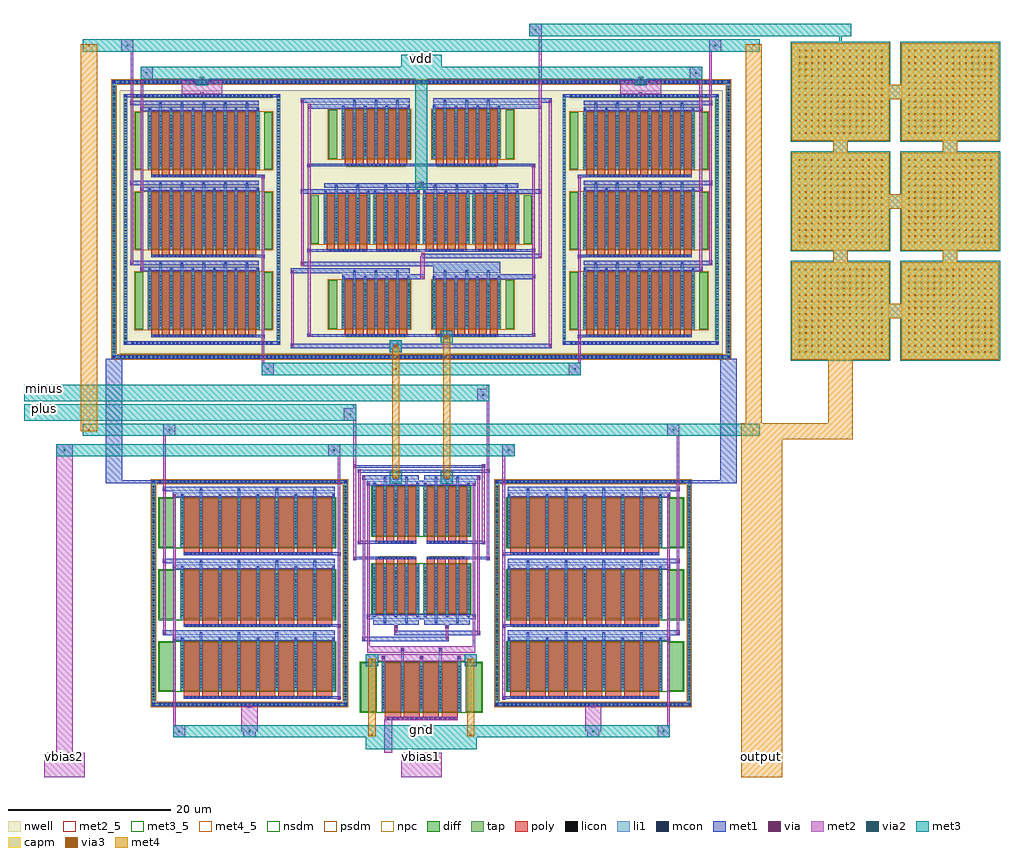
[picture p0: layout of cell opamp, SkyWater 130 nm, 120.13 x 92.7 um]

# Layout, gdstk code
import gdstk
lib = gdstk.Library(unit=1e-6, precision=1e-09)
def R(c, l, rs):  # rectangles x0, y0, x1, y1
    for r in rs: c.add(gdstk.rectangle(r[:2], r[2:], *l))
def A(c, l, x, y, w, h, nx, ny, dx, dy):  # array of equal rectangles
    R(c, l, [(x+i*dx, y+j*dy, x+i*dx+w, y+j*dy+h) for i in range(nx) for j in range(ny)])
nwell = (64, 20)
diff = (65, 20)
tap = (65, 44)
poly = (66, 20)
licon = (66, 44)
li1 = (67, 20)
mcon = (67, 44)
met1 = (68, 20)
via = (68, 44)
met2_5 = (69, 5)
met2 = (69, 20)
via2 = (69, 44)
met3_5 = (70, 5)
met3 = (70, 20)
via3 = (70, 44)
met4_5 = (71, 5)
met4 = (71, 20)
capm = (89, 44)
nsdm = (93, 44)
psdm = (94, 20)
npc = (95, 20)

opamp = lib.new_cell('opamp')
R(opamp, nwell, [(-37.11,29.47,37.11,61.905)])
A(opamp, diff, -32.06, -13.795, 0.33, 0.17, 44, 2, 0.5, 27.42)
A(opamp, diff, 10.24, -13.795, 0.33, 0.17, 44, 2, 0.5, 27.42)
A(opamp, diff, -33.17, -13.175, 0.12, 0.17, 1, 78, 0, 0.34)
A(opamp, diff, -32.88, -13.175, 0.12, 0.17, 1, 78, 0, 0.34)
A(opamp, diff, -9.53, -13.175, 0.12, 0.17, 1, 78, 0, 0.34)
A(opamp, diff, -9.24, -13.175, 0.12, 0.17, 1, 78, 0, 0.34)
A(opamp, diff, 9.12, -13.175, 0.12, 0.17, 1, 78, 0, 0.34)
A(opamp, diff, 9.41, -13.175, 0.12, 0.17, 1, 78, 0, 0.34)
A(opamp, diff, 32.78, -13.175, 0.12, 0.17, 1, 78, 0, 0.34)
A(opamp, diff, 33.07, -13.175, 0.12, 0.17, 1, 78, 0, 0.34)
A(opamp, diff, -33.17, -13.005, 0.41, 0.17, 1, 77, 0, 0.34)
A(opamp, diff, -9.53, -13.005, 0.41, 0.17, 1, 77, 0, 0.34)
A(opamp, diff, 9.12, -13.005, 0.41, 0.17, 1, 77, 0, 0.34)
A(opamp, diff, 32.78, -13.005, 0.41, 0.17, 1, 77, 0, 0.34)
A(opamp, diff, -32.235, -12.03, 2, 6, 1, 3, 0, 8.845)
A(opamp, diff, -29.66, -12.03, 19.09, 6, 1, 3, 0, 8.845)
A(opamp, diff, 10.58, -12.03, 19.09, 6, 1, 3, 0, 8.845)
A(opamp, diff, 30.245, -12.03, 2, 6, 1, 3, 0, 8.845)
A(opamp, diff, -36.915, 28.99, 0.33, 0.17, 148, 2, 0.5, 33.85)
A(opamp, diff, -38.025, 29.595, 0.12, 0.17, 1, 97, 0, 0.34)
A(opamp, diff, -37.735, 29.595, 0.12, 0.17, 1, 97, 0, 0.34)
A(opamp, diff, 37.615, 29.595, 0.12, 0.17, 1, 97, 0, 0.34)
A(opamp, diff, 37.905, 29.595, 0.12, 0.17, 1, 97, 0, 0.34)
A(opamp, diff, -38.025, 29.765, 0.41, 0.17, 1, 96, 0, 0.34)
A(opamp, diff, 37.615, 29.765, 0.41, 0.17, 1, 96, 0, 0.34)
A(opamp, diff, -35.235, 32.47, 1, 7, 1, 3, 0, 9.845)
A(opamp, diff, -33.66, 32.47, 13.75, 7, 1, 3, 0, 9.845)
A(opamp, diff, -19.335, 32.47, 1, 7, 1, 3, 0, 9.845)
A(opamp, diff, 18.335, 32.47, 1, 7, 1, 3, 0, 9.845)
A(opamp, diff, 19.91, 32.47, 13.75, 7, 1, 3, 0, 9.845)
A(opamp, diff, 34.235, 32.47, 1, 7, 1, 3, 0, 9.845)
A(opamp, diff, -12.035, 43, 5.77, 6, 4, 1, 6.1, 0)
R(opamp, diff, [(-7.46,-14.585,-5.46,-8.585), (-4.885,-14.585,4.885,-8.585), (5.46,-14.585,7.46,-8.585), (-33.17,-13.915,-9.12,-13.795), (9.12,-13.915,33.19,-13.795), (-33.17,-13.795,-32.23,-13.625), (-10.06,-13.795,-9.12,-13.625), (9.12,-13.795,10.07,-13.625), (32.24,-13.795,33.19,-13.625), (-33.17,-13.625,-9.12,-13.505), (9.12,-13.625,33.19,-13.505), (-33.17,-13.505,-32.76,-13.175), (-9.53,-13.505,-9.12,-13.175), (9.12,-13.505,9.53,-13.175), (32.78,-13.505,33.19,-13.175), (-6.025,-2.475,-0.255,3.525), (0.255,-2.475,6.025,3.525), (-6.025,7.075,-0.255,13.075), (0.255,7.075,6.025,13.075), (-33.17,13.175,-32.76,13.505), (-9.53,13.175,-9.12,13.505), (9.12,13.175,9.53,13.505), (32.78,13.175,33.19,13.505), (-33.17,13.505,-9.12,13.625), (9.12,13.505,33.19,13.625), (-33.17,13.625,-32.23,13.795), (-10.06,13.625,-9.12,13.795), (9.12,13.625,10.07,13.795), (32.24,13.625,33.19,13.795), (-33.17,13.795,-9.12,13.915), (9.12,13.795,33.19,13.915), (-38.025,28.87,38.025,28.99), (-38.025,28.99,-37.085,29.16), (37.085,28.99,38.025,29.16), (-38.025,29.16,38.025,29.28), (-38.025,29.28,-37.615,29.595), (37.615,29.28,38.025,29.595), (-11.37,32.51,-10.37,38.51), (-9.795,32.51,-1.365,38.51), (1.365,32.51,9.795,38.51), (10.37,32.51,11.37,38.51), (-13.61,43,-12.61,49), (12.61,43,13.61,49), (-11.37,53.49,-10.37,59.49), (-9.795,53.49,-1.365,59.49), (1.365,53.49,9.795,59.49), (10.37,53.49,11.37,59.49), (-38.025,62.405,-37.615,62.72), (37.615,62.405,38.025,62.72), (-38.025,62.72,38.025,62.84), (-38.025,62.84,-37.085,63.01), (37.085,62.84,38.025,63.01), (-38.025,63.01,38.025,63.13)])
A(opamp, tap, -32.23, -13.795, 0.17, 0.17, 45, 2, 0.5, 27.42)
A(opamp, tap, 10.07, -13.795, 0.17, 0.17, 45, 2, 0.5, 27.42)
A(opamp, tap, -33.05, -13.175, 0.17, 0.17, 1, 78, 0, 0.34)
A(opamp, tap, -9.41, -13.175, 0.17, 0.17, 1, 78, 0, 0.34)
A(opamp, tap, 9.24, -13.175, 0.17, 0.17, 1, 78, 0, 0.34)
A(opamp, tap, 32.9, -13.175, 0.17, 0.17, 1, 78, 0, 0.34)
A(opamp, tap, -37.085, 28.99, 0.17, 0.17, 149, 2, 0.5, 33.85)
A(opamp, tap, -37.905, 29.595, 0.17, 0.17, 1, 97, 0, 0.34)
A(opamp, tap, 37.735, 29.595, 0.17, 0.17, 1, 97, 0, 0.34)
A(opamp, tap, -35.59, 30.705, 0.17, 0.17, 35, 2, 0.5, 30.42)
A(opamp, tap, 18.42, 30.705, 0.17, 0.17, 35, 2, 0.5, 30.42)
A(opamp, tap, -36.5, 31.295, 0.17, 0.17, 1, 87, 0, 0.34)
A(opamp, tap, -17.68, 31.295, 0.17, 0.17, 1, 87, 0, 0.34)
A(opamp, tap, 17.51, 31.295, 0.17, 0.17, 1, 87, 0, 0.34)
A(opamp, tap, 36.33, 31.295, 0.17, 0.17, 1, 87, 0, 0.34)
A(opamp, poly, -4.495, -15.235, 2, 6.9, 4, 1, 2.33, 0)
A(opamp, poly, -29.27, -13.01, 18.31, 0.33, 1, 3, 0, 8.845)
A(opamp, poly, 10.97, -13.01, 18.31, 0.33, 1, 3, 0, 8.845)
A(opamp, poly, -29.27, -12.68, 2, 6.9, 8, 3, 2.33, 8.845)
A(opamp, poly, 10.97, -12.68, 2, 6.9, 8, 3, 2.33, 8.845)
A(opamp, poly, -5.635, -2.725, 1, 6.9, 4, 2, 1.33, 9.15)
A(opamp, poly, 0.645, -2.725, 1, 6.9, 4, 2, 1.33, 9.15)
A(opamp, poly, -33.27, 31.49, 12.97, 0.33, 1, 3, 0, 9.845)
A(opamp, poly, 20.3, 31.49, 12.97, 0.33, 1, 3, 0, 9.845)
A(opamp, poly, -33.27, 31.82, 1, 7.9, 10, 3, 1.33, 9.845)
A(opamp, poly, 20.3, 31.82, 1, 7.9, 10, 3, 1.33, 9.845)
A(opamp, poly, -9.405, 31.86, 1, 6.9, 6, 2, 1.33, 20.98)
A(opamp, poly, 1.755, 31.86, 1, 6.9, 6, 2, 1.33, 20.98)
A(opamp, poly, -11.645, 42.02, 4.99, 0.33, 4, 1, 6.1, 0)
A(opamp, poly, -11.645, 42.35, 1, 6.9, 4, 1, 1.33, 0)
A(opamp, poly, -5.545, 42.35, 1, 6.9, 4, 1, 1.33, 0)
A(opamp, poly, 0.555, 42.35, 1, 6.9, 4, 1, 1.33, 0)
A(opamp, poly, 6.655, 42.35, 1, 6.9, 4, 1, 1.33, 0)
R(opamp, poly, [(-4.495,-15.665,4.495,-15.235), (-5.635,4.175,-0.645,4.505), (0.645,4.175,5.635,4.505), (-5.635,6.095,-0.645,6.425), (0.645,6.095,5.635,6.425), (-9.405,31.53,-1.755,31.86), (1.755,31.53,9.405,31.86), (-9.405,52.51,-1.755,52.84), (1.755,52.51,9.405,52.84)])
A(opamp, licon, -4.145, -15.535, 0.17, 0.17, 15, 1, 0.58, 0)
A(opamp, licon, -4.745, -14.22, 0.17, 0.17, 5, 16, 2.33, 0.34)
A(opamp, licon, -32.23, -13.795, 0.17, 0.17, 45, 2, 0.5, 27.42)
A(opamp, licon, 10.07, -13.795, 0.17, 0.17, 45, 2, 0.5, 27.42)
A(opamp, licon, -33.05, -13.175, 0.17, 0.17, 1, 78, 0, 0.34)
A(opamp, licon, -9.41, -13.175, 0.17, 0.17, 1, 78, 0, 0.34)
A(opamp, licon, 9.24, -13.175, 0.17, 0.17, 1, 78, 0, 0.34)
A(opamp, licon, 32.9, -13.175, 0.17, 0.17, 1, 78, 0, 0.34)
A(opamp, licon, -28.95, -12.93, 0.17, 0.17, 36, 3, 0.5, 8.845)
A(opamp, licon, 11.29, -12.93, 0.17, 0.17, 36, 3, 0.5, 8.845)
A(opamp, licon, -29.52, -11.665, 0.17, 0.17, 9, 16, 2.33, 0.34)
A(opamp, licon, 10.72, -11.665, 0.17, 0.17, 9, 16, 2.33, 0.34)
A(opamp, licon, -29.52, -2.82, 0.17, 0.17, 9, 16, 2.33, 0.34)
A(opamp, licon, 10.72, -2.82, 0.17, 0.17, 9, 16, 2.33, 0.34)
A(opamp, licon, -5.885, -2.11, 0.17, 0.17, 5, 16, 1.33, 0.34)
A(opamp, licon, 0.395, -2.11, 0.17, 0.17, 5, 16, 1.33, 0.34)
A(opamp, licon, -5.225, 4.255, 0.17, 0.17, 9, 2, 0.5, 1.92)
A(opamp, licon, 1.055, 4.255, 0.17, 0.17, 9, 2, 0.5, 1.92)
A(opamp, licon, -29.52, 6.025, 0.17, 0.17, 9, 16, 2.33, 0.34)
A(opamp, licon, 10.72, 6.025, 0.17, 0.17, 9, 16, 2.33, 0.34)
A(opamp, licon, -5.885, 7.44, 0.17, 0.17, 5, 16, 1.33, 0.34)
A(opamp, licon, 0.395, 7.44, 0.17, 0.17, 5, 16, 1.33, 0.34)
A(opamp, licon, -37.085, 28.99, 0.17, 0.17, 149, 2, 0.5, 33.85)
A(opamp, licon, -37.905, 29.595, 0.17, 0.17, 1, 97, 0, 0.34)
A(opamp, licon, 37.735, 29.595, 0.17, 0.17, 1, 97, 0, 0.34)
A(opamp, licon, -35.59, 30.705, 0.17, 0.17, 35, 2, 0.5, 30.42)
A(opamp, licon, 18.42, 30.705, 0.17, 0.17, 35, 2, 0.5, 30.42)
A(opamp, licon, -36.5, 31.295, 0.17, 0.17, 1, 87, 0, 0.34)
A(opamp, licon, -17.68, 31.295, 0.17, 0.17, 1, 87, 0, 0.34)
A(opamp, licon, 17.51, 31.295, 0.17, 0.17, 1, 87, 0, 0.34)
A(opamp, licon, 36.33, 31.295, 0.17, 0.17, 1, 87, 0, 0.34)
A(opamp, licon, -32.87, 31.57, 0.17, 0.17, 25, 3, 0.5, 9.845)
A(opamp, licon, 20.7, 31.57, 0.17, 0.17, 25, 3, 0.5, 9.845)
A(opamp, licon, -9.165, 31.61, 0.17, 0.17, 15, 2, 0.5, 20.98)
A(opamp, licon, 1.995, 31.61, 0.17, 0.17, 15, 2, 0.5, 20.98)
A(opamp, licon, -33.52, 32.825, 0.17, 0.17, 11, 19, 1.33, 0.34)
A(opamp, licon, 20.05, 32.825, 0.17, 0.17, 11, 19, 1.33, 0.34)
A(opamp, licon, -9.655, 32.875, 0.17, 0.17, 7, 16, 1.33, 0.34)
A(opamp, licon, 1.505, 32.875, 0.17, 0.17, 7, 16, 1.33, 0.34)
A(opamp, licon, -11.235, 42.1, 0.17, 0.17, 9, 1, 0.5, 0)
A(opamp, licon, -5.135, 42.1, 0.17, 0.17, 9, 1, 0.5, 0)
A(opamp, licon, 0.965, 42.1, 0.17, 0.17, 9, 1, 0.5, 0)
A(opamp, licon, 7.065, 42.1, 0.17, 0.17, 9, 1, 0.5, 0)
A(opamp, licon, -33.52, 42.67, 0.17, 0.17, 11, 19, 1.33, 0.34)
A(opamp, licon, 20.05, 42.67, 0.17, 0.17, 11, 19, 1.33, 0.34)
A(opamp, licon, -11.895, 43.365, 0.17, 0.17, 5, 16, 1.33, 0.34)
A(opamp, licon, -5.795, 43.365, 0.17, 0.17, 5, 16, 1.33, 0.34)
A(opamp, licon, 0.305, 43.365, 0.17, 0.17, 5, 16, 1.33, 0.34)
A(opamp, licon, 6.405, 43.365, 0.17, 0.17, 5, 16, 1.33, 0.34)
A(opamp, licon, -33.52, 52.515, 0.17, 0.17, 11, 19, 1.33, 0.34)
A(opamp, licon, 20.05, 52.515, 0.17, 0.17, 11, 19, 1.33, 0.34)
A(opamp, licon, -9.655, 53.855, 0.17, 0.17, 7, 16, 1.33, 0.34)
A(opamp, licon, 1.505, 53.855, 0.17, 0.17, 7, 16, 1.33, 0.34)
A(opamp, li1, -4.225, -15.615, 0.33, 0.33, 15, 1, 0.58, 0)
A(opamp, li1, -4.825, -14.585, 0.33, 6.73, 3, 1, 4.66, 0)
A(opamp, li1, -32.31, -13.875, 0.33, 0.33, 45, 2, 0.5, 27.42)
A(opamp, li1, 9.99, -13.875, 0.33, 0.33, 45, 2, 0.5, 27.42)
A(opamp, li1, -29.03, -13.01, 0.33, 0.33, 36, 3, 0.5, 8.845)
A(opamp, li1, 11.21, -13.01, 0.33, 0.33, 36, 3, 0.5, 8.845)
A(opamp, li1, -29.6, -12.03, 0.33, 6.52, 5, 3, 4.66, 8.845)
A(opamp, li1, -27.27, -12.03, 0.33, 7.24, 4, 3, 4.66, 8.845)
A(opamp, li1, 10.64, -12.03, 0.33, 6.52, 5, 3, 4.66, 8.845)
A(opamp, li1, 12.97, -12.03, 0.33, 7.24, 4, 3, 4.66, 8.845)
A(opamp, li1, -5.965, -2.995, 0.33, 6.52, 3, 2, 2.66, 10.07)
A(opamp, li1, 0.315, -2.995, 0.33, 6.52, 3, 2, 2.66, 10.07)
A(opamp, li1, -5.305, 4.175, 0.33, 0.33, 9, 2, 0.5, 1.92)
A(opamp, li1, 0.975, 4.175, 0.33, 0.33, 9, 2, 0.5, 1.92)
A(opamp, li1, -37.165, 28.91, 0.33, 0.33, 149, 2, 0.5, 33.85)
A(opamp, li1, -35.67, 30.625, 0.33, 0.33, 35, 2, 0.5, 30.42)
A(opamp, li1, 18.34, 30.625, 0.33, 0.33, 35, 2, 0.5, 30.42)
A(opamp, li1, -32.95, 31.49, 0.33, 0.33, 25, 3, 0.5, 9.845)
A(opamp, li1, 20.62, 31.49, 0.33, 0.33, 25, 3, 0.5, 9.845)
A(opamp, li1, -9.245, 31.53, 0.33, 0.33, 15, 2, 0.5, 20.98)
A(opamp, li1, 1.915, 31.53, 0.33, 0.33, 15, 2, 0.5, 20.98)
A(opamp, li1, -33.6, 32.47, 0.33, 7.52, 6, 3, 2.66, 9.845)
A(opamp, li1, -32.27, 32.47, 0.33, 8.24, 5, 3, 2.66, 9.845)
A(opamp, li1, 19.97, 32.47, 0.33, 7.52, 6, 3, 2.66, 9.845)
A(opamp, li1, 21.3, 32.47, 0.33, 8.24, 5, 3, 2.66, 9.845)
A(opamp, li1, -9.735, 32.51, 0.33, 6.52, 4, 2, 2.66, 20.98)
A(opamp, li1, -8.405, 32.51, 0.33, 7.24, 3, 2, 2.66, 20.98)
A(opamp, li1, 1.425, 32.51, 0.33, 6.52, 4, 2, 2.66, 20.98)
A(opamp, li1, 2.755, 32.51, 0.33, 7.24, 3, 2, 2.66, 20.98)
A(opamp, li1, -11.315, 42.02, 0.33, 0.33, 9, 1, 0.5, 0)
A(opamp, li1, -5.215, 42.02, 0.33, 0.33, 9, 1, 0.5, 0)
A(opamp, li1, 0.885, 42.02, 0.33, 0.33, 9, 1, 0.5, 0)
A(opamp, li1, 6.985, 42.02, 0.33, 0.33, 9, 1, 0.5, 0)
A(opamp, li1, -11.975, 43, 0.33, 6.52, 3, 1, 2.66, 0)
A(opamp, li1, -5.875, 43, 0.33, 6.52, 3, 1, 2.66, 0)
A(opamp, li1, 0.225, 43, 0.33, 6.52, 3, 1, 2.66, 0)
A(opamp, li1, 6.325, 43, 0.33, 6.52, 3, 1, 2.66, 0)
R(opamp, li1, [(-2.495,-14.585,-2.165,-6.855), (2.165,-14.585,2.495,-6.855), (-33.17,-13.915,-32.76,13.915), (-9.53,-13.915,-9.12,13.915), (9.12,-13.915,9.53,13.915), (32.78,-13.915,33.19,13.915), (-4.635,-3.715,-4.305,3.525), (-1.975,-3.715,-1.645,3.525), (1.645,-3.715,1.975,3.525), (4.305,-3.715,4.635,3.525), (-4.635,7.075,-4.305,14.315), (-1.975,7.075,-1.645,14.315), (1.645,7.075,1.975,14.315), (4.305,7.075,4.635,14.315), (-38.025,28.87,-37.615,63.13), (37.615,28.87,38.025,63.13), (-36.62,30.585,-36.21,61.415), (-17.8,30.585,-17.39,61.415), (17.39,30.585,17.8,61.415), (36.21,30.585,36.62,61.415), (-10.645,43,-10.315,50.24), (-7.985,43,-7.655,50.24), (-4.545,43,-4.215,50.24), (-1.885,43,-1.555,50.24), (1.555,43,1.885,50.24), (4.215,43,4.545,50.24), (7.655,43,7.985,50.24), (10.315,43,10.645,50.24)])
A(opamp, mcon, -4.145, -15.535, 0.17, 0.17, 15, 1, 0.58, 0)
A(opamp, mcon, -32.23, -13.795, 0.17, 0.17, 45, 2, 0.5, 27.42)
A(opamp, mcon, 10.07, -13.795, 0.17, 0.17, 45, 2, 0.5, 27.42)
A(opamp, mcon, -28.95, -12.93, 0.17, 0.17, 36, 3, 0.5, 8.845)
A(opamp, mcon, 11.29, -12.93, 0.17, 0.17, 36, 3, 0.5, 8.845)
A(opamp, mcon, -4.745, -8.025, 0.17, 0.17, 3, 1, 4.66, 0)
A(opamp, mcon, -29.52, -5.68, 0.17, 0.17, 5, 3, 4.66, 8.845)
A(opamp, mcon, 10.72, -5.68, 0.17, 0.17, 5, 3, 4.66, 8.845)
A(opamp, mcon, -27.19, -4.96, 0.17, 0.17, 4, 3, 4.66, 8.845)
A(opamp, mcon, 13.05, -4.96, 0.17, 0.17, 4, 3, 4.66, 8.845)
A(opamp, mcon, -5.885, -2.995, 0.17, 0.17, 3, 2, 2.66, 16.42)
A(opamp, mcon, 0.395, -2.995, 0.17, 0.17, 3, 2, 2.66, 16.42)
A(opamp, mcon, -5.225, 4.255, 0.17, 0.17, 9, 2, 0.5, 1.92)
A(opamp, mcon, 1.055, 4.255, 0.17, 0.17, 9, 2, 0.5, 1.92)
A(opamp, mcon, -37.085, 28.99, 0.17, 0.17, 149, 2, 0.5, 33.85)
A(opamp, mcon, -35.59, 30.705, 0.17, 0.17, 35, 2, 0.5, 30.42)
A(opamp, mcon, 18.42, 30.705, 0.17, 0.17, 35, 2, 0.5, 30.42)
A(opamp, mcon, -32.87, 31.57, 0.17, 0.17, 25, 3, 0.5, 9.845)
A(opamp, mcon, 20.7, 31.57, 0.17, 0.17, 25, 3, 0.5, 9.845)
A(opamp, mcon, -9.165, 31.61, 0.17, 0.17, 15, 2, 0.5, 20.98)
A(opamp, mcon, 1.995, 31.61, 0.17, 0.17, 15, 2, 0.5, 20.98)
A(opamp, mcon, -9.655, 38.86, 0.17, 0.17, 4, 2, 2.66, 20.98)
A(opamp, mcon, 1.505, 38.86, 0.17, 0.17, 4, 2, 2.66, 20.98)
A(opamp, mcon, -8.325, 39.58, 0.17, 0.17, 3, 2, 2.66, 20.98)
A(opamp, mcon, 2.835, 39.58, 0.17, 0.17, 3, 2, 2.66, 20.98)
A(opamp, mcon, -33.52, 39.82, 0.17, 0.17, 6, 3, 2.66, 9.845)
A(opamp, mcon, 20.05, 39.82, 0.17, 0.17, 6, 3, 2.66, 9.845)
A(opamp, mcon, -32.19, 40.54, 0.17, 0.17, 5, 3, 2.66, 9.845)
A(opamp, mcon, 21.38, 40.54, 0.17, 0.17, 5, 3, 2.66, 9.845)
A(opamp, mcon, -11.235, 42.1, 0.17, 0.17, 9, 1, 0.5, 0)
A(opamp, mcon, -5.135, 42.1, 0.17, 0.17, 9, 1, 0.5, 0)
A(opamp, mcon, 0.965, 42.1, 0.17, 0.17, 9, 1, 0.5, 0)
A(opamp, mcon, 7.065, 42.1, 0.17, 0.17, 9, 1, 0.5, 0)
A(opamp, mcon, -11.895, 49.35, 0.17, 0.17, 3, 1, 2.66, 0)
A(opamp, mcon, -5.795, 49.35, 0.17, 0.17, 3, 1, 2.66, 0)
A(opamp, mcon, 0.305, 49.35, 0.17, 0.17, 3, 1, 2.66, 0)
A(opamp, mcon, 6.405, 49.35, 0.17, 0.17, 3, 1, 2.66, 0)
R(opamp, mcon, [(-33.05,-13.795,-32.88,-13.625), (-9.41,-13.795,-9.24,-13.625), (9.24,-13.795,9.41,-13.625), (32.9,-13.795,33.07,-13.625), (-2.415,-7.025,-2.245,-6.855), (2.245,-7.025,2.415,-6.855), (-4.555,-3.715,-4.385,-3.545), (-1.895,-3.715,-1.725,-3.545), (1.725,-3.715,1.895,-3.545), (4.385,-3.715,4.555,-3.545), (-33.05,13.625,-32.88,13.795), (-9.41,13.625,-9.24,13.795), (9.24,13.625,9.41,13.795), (32.9,13.625,33.07,13.795), (-4.555,14.145,-4.385,14.315), (-1.895,14.145,-1.725,14.315), (1.725,14.145,1.895,14.315), (4.385,14.145,4.555,14.315), (-37.905,28.99,-37.735,29.16), (37.735,28.99,37.905,29.16), (-36.5,30.705,-36.33,30.875), (-17.68,30.705,-17.51,30.875), (17.51,30.705,17.68,30.875), (36.33,30.705,36.5,30.875), (-10.565,50.07,-10.395,50.24), (-7.905,50.07,-7.735,50.24), (-4.465,50.07,-4.295,50.24), (-1.805,50.07,-1.635,50.24), (1.635,50.07,1.805,50.24), (4.295,50.07,4.465,50.24), (7.735,50.07,7.905,50.24), (10.395,50.07,10.565,50.24), (-36.5,61.125,-36.33,61.295), (-17.68,61.125,-17.51,61.295), (17.51,61.125,17.68,61.295), (36.33,61.125,36.5,61.295), (-37.905,62.84,-37.735,63.01), (37.735,62.84,37.905,63.01)])
A(opamp, met1, -4.275, -15.665, 0.43, 0.43, 15, 1, 0.58, 0)
A(opamp, met1, -10.36, -13.11, 0.43, 0.1, 1, 3, 0, 8.845)
A(opamp, met1, 9.94, -13.11, 0.43, 0.1, 1, 3, 0, 8.845)
A(opamp, met1, -29.27, -13.01, 19.34, 0.33, 1, 3, 0, 8.845)
A(opamp, met1, 9.94, -13.01, 19.34, 0.33, 1, 3, 0, 8.845)
A(opamp, met1, -4.875, -8.155, 0.43, 0.43, 3, 1, 4.66, 0)
A(opamp, met1, -30.61, -5.885, 19.96, 0.58, 1, 3, 0, 8.845)
A(opamp, met1, 10.66, -5.885, 19.96, 0.58, 1, 3, 0, 8.845)
A(opamp, met1, -31.81, -5.165, 21.16, 0.58, 1, 3, 0, 8.845)
A(opamp, met1, 10.66, -5.165, 21.16, 0.58, 1, 3, 0, 8.845)
A(opamp, met1, -19.7, 31.39, 0.43, 0.1, 1, 3, 0, 9.845)
A(opamp, met1, 19.27, 31.39, 0.43, 0.1, 1, 3, 0, 9.845)
A(opamp, met1, -33.27, 31.49, 14, 0.33, 1, 3, 0, 9.845)
A(opamp, met1, 19.27, 31.49, 14, 0.33, 1, 3, 0, 9.845)
A(opamp, met1, -14.02, 31.53, 28.04, 0.33, 1, 3, 0, 10.49)
A(opamp, met1, -34.61, 39.615, 14.62, 0.58, 1, 3, 0, 9.845)
A(opamp, met1, 19.99, 39.615, 14.62, 0.58, 1, 3, 0, 9.845)
A(opamp, met1, -35.81, 40.335, 15.82, 0.58, 1, 3, 0, 9.845)
A(opamp, met1, 19.99, 40.335, 15.82, 0.58, 1, 3, 0, 9.845)
R(opamp, met1, [(-21.36,-14.13,-20.93,-13.915), (20.94,-14.13,21.37,-13.915), (-33.17,-13.915,-9.12,-13.505), (9.12,-13.915,33.19,-13.505), (-2.545,-7.155,-2.115,-6.725), (2.115,-7.155,2.545,-6.725), (-7.27,-5.93,3.355,-5.35), (-3.355,-5.21,7.27,-4.63), (-3.355,-4.63,-2.925,-4.49), (-3.355,-4.35,-2.925,-3.92), (2.925,-4.35,3.355,-3.92), (-5.945,-3.92,-0.335,-3.34), (0.335,-3.92,5.945,-3.34), (-6.7,-3.2,6.7,-2.62), (-8.41,4.075,-7.98,4.175), (7.98,4.075,8.41,4.175), (-8.41,4.175,-0.645,4.505), (0.645,4.175,8.41,4.505), (-7.84,5.995,-7.41,6.095), (7.41,5.995,7.84,6.095), (-7.84,6.095,-0.645,6.425), (0.645,6.095,7.84,6.425), (-6.7,13.22,6.7,13.8), (-38.82,13.505,-9.12,13.915), (9.12,13.505,38.82,13.915), (-38.82,13.915,-36.82,28.87), (36.82,13.915,38.82,28.87), (-7.27,13.94,-0.335,14.52), (0.335,13.94,7.27,14.52), (-7.84,14.84,8.41,15.17), (-7.84,15.17,-7.41,15.27), (7.98,15.17,8.41,15.27), (-8.41,15.41,7.84,15.74), (-8.41,15.74,-7.98,15.84), (7.41,15.74,7.84,15.84), (-38.025,28.87,38.025,29.28), (-3.89,29.65,-2.39,30.11), (-16.08,30.11,16.08,30.69), (-36.62,30.585,-17.39,30.995), (17.39,30.585,36.62,30.995), (-3.89,30.69,-2.39,31.15), (2.925,31.335,3.355,31.53), (-14.02,31.86,-13.59,31.96), (13.59,31.86,14.02,31.96), (-9.715,38.655,0.445,39.235), (1.445,38.655,13.805,38.73), (1.445,38.73,14.02,39.16), (1.445,39.16,13.805,39.235), (-16.08,39.375,-1.445,39.955), (1.445,39.375,9.715,40.215), (-14.8,40.215,9.715,40.365), (-14.85,40.365,9.715,40.795), (0.155,41.195,14.85,41.485), (0.015,41.485,14.85,41.775), (0.015,41.775,0.445,41.915), (-14.02,41.97,-13.59,42.02), (13.59,41.97,14.02,42.02), (-14.02,42.35,-13.59,42.4), (13.59,42.35,14.02,42.4), (-14.85,49.145,-0.245,49.725), (0.245,49.145,14.85,49.725), (-11.955,49.865,11.955,50.445), (-0.215,50.445,0.215,50.585), (-14.02,52.41,-13.59,52.51), (13.59,52.41,14.02,52.51), (-13.97,59.635,-1.445,60.215), (1.445,59.635,14.85,60.215), (-14.85,60.355,-1.445,60.935), (1.445,60.355,16.08,60.935), (-36.62,61.005,-17.39,61.415), (17.39,61.005,36.62,61.415), (-27.22,61.415,-26.79,61.63), (26.79,61.415,27.22,61.63), (-38.025,62.72,38.025,63.13)])
A(opamp, via, -4.135, -15.525, 0.15, 0.15, 15, 1, 0.58, 0)
A(opamp, via, -10.22, -12.97, 0.15, 0.15, 1, 3, 0, 8.845)
A(opamp, via, 10.08, -12.97, 0.15, 0.15, 1, 3, 0, 8.845)
A(opamp, via, -4.735, -8.015, 0.15, 0.15, 3, 1, 4.66, 0)
A(opamp, via, -30.47, -5.745, 0.15, 0.15, 1, 3, 0, 8.845)
A(opamp, via, 30.33, -5.745, 0.15, 0.15, 1, 3, 0, 8.845)
A(opamp, via, -31.67, -5.025, 0.15, 0.15, 1, 3, 0, 8.845)
A(opamp, via, 31.53, -5.025, 0.15, 0.15, 1, 3, 0, 8.845)
A(opamp, via, -19.56, 31.53, 0.15, 0.15, 1, 3, 0, 9.845)
A(opamp, via, 19.41, 31.53, 0.15, 0.15, 1, 3, 0, 9.845)
A(opamp, via, -13.88, 31.67, 0.15, 0.15, 1, 3, 0, 10.44)
A(opamp, via, -34.47, 39.755, 0.15, 0.15, 1, 3, 0, 9.845)
A(opamp, via, 34.32, 39.755, 0.15, 0.15, 1, 3, 0, 9.845)
A(opamp, via, -35.67, 40.475, 0.15, 0.15, 1, 3, 0, 9.845)
A(opamp, via, 35.52, 40.475, 0.15, 0.15, 1, 3, 0, 9.845)
R(opamp, via, [(-21.22,-13.99,-21.07,-13.84), (21.08,-13.99,21.23,-13.84), (-2.405,-7.015,-2.255,-6.865), (2.255,-7.015,2.405,-6.865), (-7.13,-5.79,-6.98,-5.64), (3.065,-5.64,3.215,-5.49), (6.98,-5.07,7.13,-4.92), (-3.215,-4.78,-3.065,-4.63), (-3.215,-4.21,-3.065,-4.06), (3.065,-4.21,3.215,-4.06), (-6.56,-2.91,-6.41,-2.76), (6.41,-2.91,6.56,-2.76), (-8.27,4.215,-8.12,4.365), (8.12,4.215,8.27,4.365), (-7.7,6.135,-7.55,6.285), (7.55,6.135,7.7,6.285), (-6.56,13.36,-6.41,13.51), (6.41,13.36,6.56,13.51), (-3.215,14.15,-3.065,14.3), (3.065,14.15,3.215,14.3), (-7.13,14.23,-6.98,14.38), (6.98,14.23,7.13,14.38), (-7.7,14.98,-7.55,15.13), (8.12,14.98,8.27,15.13), (-8.27,15.55,-8.12,15.7), (7.55,15.55,7.7,15.7), (-3.215,30.325,-3.065,30.475), (-15.94,30.4,-15.79,30.55), (15.79,30.4,15.94,30.55), (3.065,31.475,3.215,31.625), (13.73,31.67,13.88,31.82), (0.08,38.87,0.23,39.02), (13.73,38.87,13.88,39.02), (-15.94,39.515,-15.79,39.665), (-14.71,40.505,-14.56,40.655), (14.56,41.335,14.71,41.485), (0.155,41.625,0.305,41.775), (13.73,42.11,13.88,42.26), (14.56,49.285,14.71,49.435), (-14.71,49.435,-14.56,49.585), (-0.075,50.295,0.075,50.445), (13.73,52.55,13.88,52.7), (-13.83,59.775,-13.68,59.925), (14.56,59.775,14.71,59.925), (-14.71,60.495,-14.56,60.645), (15.79,60.495,15.94,60.645), (-27.08,61.34,-26.93,61.49), (26.93,61.34,27.08,61.49)])
R(opamp, met2_5, [(-44.405,-20.645,-43.405,-19.645), (-0.5,-20.645,0.5,-19.645)])
R(opamp, met2, [(-46.405,-22.645,-41.405,-19.645), (-2.5,-22.645,2.5,-19.645), (-44.905,-19.645,-42.905,18.34), (-4.56,-19.645,-3.56,-15.665), (-30.56,-17.745,-29.06,-16.245), (-21.895,-17.745,-20.395,-16.995), (20.405,-17.745,21.905,-16.995), (29.07,-17.745,30.57,-16.245), (-22.145,-16.995,-20.145,-13.915), (20.155,-16.995,22.155,-13.915), (-30.56,-16.245,-30.23,12.185), (30.24,-16.245,30.57,12.185), (-4.56,-15.665,4.495,-15.615), (-4.495,-15.615,4.495,-15.235), (-21.31,-13.915,-20.98,-13.75), (20.99,-13.915,21.32,-13.75), (-10.31,-13.06,-9.98,16.84), (9.99,-13.06,10.32,16.84), (-6.825,-9.01,-5.325,-8.37), (5.325,-9.01,6.825,-8.37), (-6.825,-8.37,6.825,-7.51), (-6.65,-7.37,6.65,-6.51), (-6.65,-6.51,-6.32,13.6), (6.32,-6.51,6.65,13.6), (-7.22,-5.88,-6.89,14.47), (2.975,-5.73,3.305,-3.97), (6.89,-5.16,7.22,14.47), (-31.76,-5.115,-31.43,19.34), (31.44,-5.115,31.77,19.34), (-3.305,-4.87,-2.975,-3.97), (-8.36,4.125,-8.03,21.24), (8.03,4.125,8.36,23.64), (-7.79,6.045,-7.46,15.22), (7.46,6.045,7.79,15.79), (-3.43,13.935,-2.85,14.515), (2.85,13.935,3.43,14.515), (-11.48,16.84,-9.98,18.34), (9.99,16.84,11.49,18.34), (-31.76,19.34,-30.26,20.84), (30.27,19.34,31.77,20.84), (-9.53,21.24,-8.03,22.74), (-8.36,22.74,-8.03,23.24), (6.86,23.64,8.36,25.14), (8.03,25.14,8.36,25.64), (-19.65,26.84,-18.15,28.34), (18.15,26.84,19.65,28.34), (-19.65,28.34,-19.32,51.46), (19.32,28.34,19.65,51.46), (-3.43,30.11,-2.85,30.69), (-16.03,30.31,-15.7,39.755), (15.7,30.31,16.03,60.735), (2.85,31.26,3.43,31.84), (-13.97,31.58,-13.64,59.635), (13.64,31.58,13.97,52.79), (-0.135,38.655,0.445,41.485), (-34.56,39.665,-34.23,63.26), (34.23,39.665,34.56,63.26), (-14.8,40.215,-14.47,40.365), (-14.85,40.365,-14.42,40.795), (-35.76,40.385,-35.43,66.66), (35.43,40.385,35.76,66.66), (-14.8,40.795,-14.47,60.735), (14.47,41.245,14.8,68.56), (0.015,41.485,0.445,41.915), (-0.29,50.08,0.29,50.66), (-13.97,59.635,-13.54,60.065), (-13.97,60.065,-13.64,60.215), (-27.17,61.25,-26.84,61.415), (26.84,61.25,27.17,61.415), (-29.505,61.415,-24.505,63.26), (24.505,61.415,29.505,63.26), (-34.56,63.26,-33.06,64.76), (-27.295,63.26,-26.715,63.55), (26.715,63.26,27.295,63.55), (33.06,63.26,34.56,64.76), (-36.93,66.66,-35.43,68.16), (35.43,66.66,36.93,68.16), (13.3,68.56,14.8,70.06)])
R(opamp, via2, [(-29.91,-17.095,-29.71,-16.895), (-21.245,-17.095,-21.045,-16.895), (21.055,-17.095,21.255,-16.895), (29.72,-17.095,29.92,-16.895), (-6.175,-8.36,-5.975,-8.16), (5.975,-8.36,6.175,-8.16), (-3.24,14.125,-3.04,14.325), (3.04,14.125,3.24,14.325), (-44.005,17.49,-43.805,17.69), (-10.83,17.49,-10.63,17.69), (10.64,17.49,10.84,17.69), (-31.11,19.99,-30.91,20.19), (30.92,19.99,31.12,20.19), (-8.88,21.89,-8.68,22.09), (7.51,24.29,7.71,24.49), (-19,27.49,-18.8,27.69), (18.8,27.49,19,27.69), (-3.24,30.3,-3.04,30.5), (3.04,31.45,3.24,31.65), (-0.1,50.27,0.1,50.47), (-27.105,63.16,-26.905,63.36), (26.905,63.16,27.105,63.36), (-33.91,63.91,-33.71,64.11), (33.71,63.91,33.91,64.11), (-36.28,67.31,-36.08,67.51), (36.08,67.31,36.28,67.51), (13.95,69.21,14.15,69.41)])
R(opamp, met3_5, [(-0.5,-17.245,0.5,-16.245), (-46.905,22.24,-45.905,23.24), (-46.905,24.64,-45.905,25.64), (-0.5,65.26,0.5,66.26)])
A(opamp, met3, 45.465, 33.84, 25.76, 1.8, 1, 3, 0, 13.48)
R(opamp, met3, [(-6.825,-19.245,6.825,-17.745), (-30.56,-17.745,30.57,-16.245), (-6.825,-9.01,-5.325,-7.51), (5.325,-9.01,6.825,-7.51), (-3.89,13.475,-2.39,14.975), (2.39,13.475,3.89,14.975), (-44.905,16.84,11.49,18.34), (-41.655,19.34,41.655,20.84), (-48.905,21.24,-8.03,23.24), (-48.905,23.64,8.36,25.64), (-19.65,26.84,19.65,28.34), (45.465,28.6,57.745,33.84), (58.945,28.6,71.225,33.84), (-3.89,29.65,-2.39,31.15), (2.39,30.8,3.89,32.3), (45.465,35.64,57.745,40.88), (58.945,35.64,71.225,40.88), (50.705,40.88,52.505,42.08), (64.185,40.88,65.985,42.08), (45.465,42.08,57.745,47.32), (58.945,42.08,71.225,47.32), (45.465,49.12,57.745,54.36), (58.945,49.12,71.225,54.36), (-0.75,49.62,0.75,63.26), (50.705,54.36,52.505,55.56), (64.185,54.36,65.985,55.56), (45.465,55.56,57.745,60.8), (58.945,55.56,71.225,60.8), (-27.755,62.51,-26.255,63.26), (26.255,62.51,27.755,63.26), (45.465,62.6,57.745,67.84), (58.945,62.6,71.225,67.84), (-34.56,63.26,34.56,64.76), (-2.5,64.76,2.5,66.26), (-41.655,66.66,41.655,68.16), (51.44,67.84,51.77,68.56), (13.3,68.56,52.94,70.06)])
A(opamp, via3, 46.435, 29.57, 0.2, 0.2, 14, 14, 0.78, 0.78)
A(opamp, via3, 59.915, 29.57, 0.2, 0.2, 14, 14, 0.78, 0.78)
A(opamp, via3, 46.435, 43.05, 0.2, 0.2, 14, 14, 0.78, 0.78)
A(opamp, via3, 59.915, 43.05, 0.2, 0.2, 14, 14, 0.78, 0.78)
A(opamp, via3, 46.435, 56.53, 0.2, 0.2, 14, 14, 0.78, 0.78)
A(opamp, via3, 59.915, 56.53, 0.2, 0.2, 14, 14, 0.78, 0.78)
R(opamp, via3, [(-6.175,-17.525,-5.975,-17.325), (5.975,-17.525,6.175,-17.325), (-6.175,-8.36,-5.975,-8.16), (5.975,-8.36,6.175,-8.16), (-3.24,14.125,-3.04,14.325), (3.04,14.125,3.24,14.325), (-41.005,19.99,-40.805,20.19), (40.805,19.99,41.005,20.19), (-3.24,27.49,-3.04,27.69), (-3.24,30.3,-3.04,30.5), (3.04,31.45,3.24,31.65), (-41.005,67.31,-40.805,67.51), (40.805,67.31,41.005,67.51)])
R(opamp, met4_5, [(41.405,-20.645,42.405,-19.645)])
A(opamp, met4, 45.605, 33.84, 25.48, 1.8, 1, 3, 0, 13.48)
R(opamp, met4, [(39.405,-22.645,44.405,18.92), (-6.525,-17.595,-5.625,-8.09), (5.625,-17.595,6.525,-8.09), (-3.31,14.055,-2.97,14.225), (2.97,14.055,3.31,14.225), (-3.59,14.225,-2.69,30.23), (2.69,14.225,3.59,31.55), (39.405,18.92,53.105,20.92), (-41.905,19.92,-39.905,67.58), (39.905,20.92,41.905,67.58), (50.105,20.92,53.105,28.74), (45.605,28.74,57.605,33.84), (59.085,28.74,71.085,33.84), (-3.31,30.23,-2.97,30.57), (2.97,31.55,3.31,31.72), (45.605,35.64,57.605,40.74), (59.085,35.64,71.085,40.74), (50.705,40.74,52.505,42.22), (64.185,40.74,65.985,42.22), (45.605,42.22,57.605,47.32), (59.085,42.22,71.085,47.32), (45.605,49.12,57.605,54.22), (59.085,49.12,71.085,54.22), (50.705,54.22,52.505,55.7), (64.185,54.22,65.985,55.7), (45.605,55.7,57.605,60.8), (59.085,55.7,71.085,60.8), (45.605,62.6,57.605,67.7), (59.085,62.6,71.085,67.7)])
A(opamp, capm, 45.605, 28.74, 12, 12, 1, 3, 0, 13.48)
A(opamp, capm, 59.085, 28.74, 12, 12, 1, 3, 0, 13.48)
A(opamp, nsdm, -32.36, -12.155, 21.915, 6.25, 1, 3, 0, 8.845)
A(opamp, nsdm, 10.455, -12.155, 21.915, 6.25, 1, 3, 0, 8.845)
R(opamp, nsdm, [(-7.585,-14.71,7.585,-8.46), (-6.15,-2.6,6.15,3.65), (-6.15,6.95,6.15,13.2), (-35.715,30.58,-18.295,31), (18.295,30.58,35.715,31), (-36.625,31.17,-36.205,60.83), (-17.805,31.17,-17.385,60.83), (17.385,31.17,17.805,60.83), (36.205,31.17,36.625,60.83), (-35.715,61,-18.295,61.42), (18.295,61,35.715,61.42)])
A(opamp, psdm, -35.36, 32.345, 17.15, 7.25, 1, 3, 0, 9.845)
A(opamp, psdm, 18.21, 32.345, 17.15, 7.25, 1, 3, 0, 9.845)
R(opamp, psdm, [(-33.295,-14.04,-8.995,-13.38), (8.995,-14.04,33.315,-13.38), (-33.295,-13.38,-32.635,13.38), (-9.655,-13.38,-8.995,13.38), (8.995,-13.38,9.655,13.38), (32.655,-13.38,33.315,13.38), (-33.295,13.38,-8.995,14.04), (8.995,13.38,33.315,14.04), (-38.15,28.745,38.15,29.405), (-38.15,29.405,-37.49,62.595), (37.49,29.405,38.15,62.595), (-11.495,32.385,-1.24,38.635), (1.24,32.385,11.495,38.635), (-13.735,42.875,13.735,49.125), (-11.495,53.365,-1.24,59.615), (1.24,53.365,11.495,59.615), (-38.15,62.595,38.15,63.255)])
A(opamp, npc, -29.05, -13.03, 17.87, 0.37, 1, 3, 0, 8.845)
A(opamp, npc, 11.19, -13.03, 17.87, 0.37, 1, 3, 0, 8.845)
A(opamp, npc, -32.97, 31.47, 12.37, 0.37, 1, 3, 0, 9.845)
A(opamp, npc, 20.6, 31.47, 12.37, 0.37, 1, 3, 0, 9.845)
A(opamp, npc, -11.335, 42, 4.37, 0.37, 4, 1, 6.1, 0)
R(opamp, npc, [(-4.245,-15.635,4.245,-15.265), (-5.325,4.155,-0.955,4.525), (0.955,4.155,5.325,4.525), (-5.325,6.075,-0.955,6.445), (0.955,6.075,5.325,6.445), (-9.265,31.51,-1.895,31.88), (1.895,31.51,9.265,31.88), (-9.265,52.49,-1.895,52.86), (1.895,52.49,9.265,52.86)])
opamp.add(gdstk.Label('gnd', (0,-16.745), layer=70, texttype=5))
opamp.add(gdstk.Label('output', (41.905,-20.145), layer=71, texttype=5))
opamp.add(gdstk.Label('vdd', (0,65.76), layer=70, texttype=5))
opamp.add(gdstk.Label('plus', (-46.405,22.74), layer=70, texttype=5))
opamp.add(gdstk.Label('minus', (-46.405,25.14), layer=70, texttype=5))
opamp.add(gdstk.Label('vbias2', (-43.905,-20.145), layer=69, texttype=5))
opamp.add(gdstk.Label('vbias1', (0,-20.145), layer=69, texttype=5))

lib.write_gds('opamp.gds')
